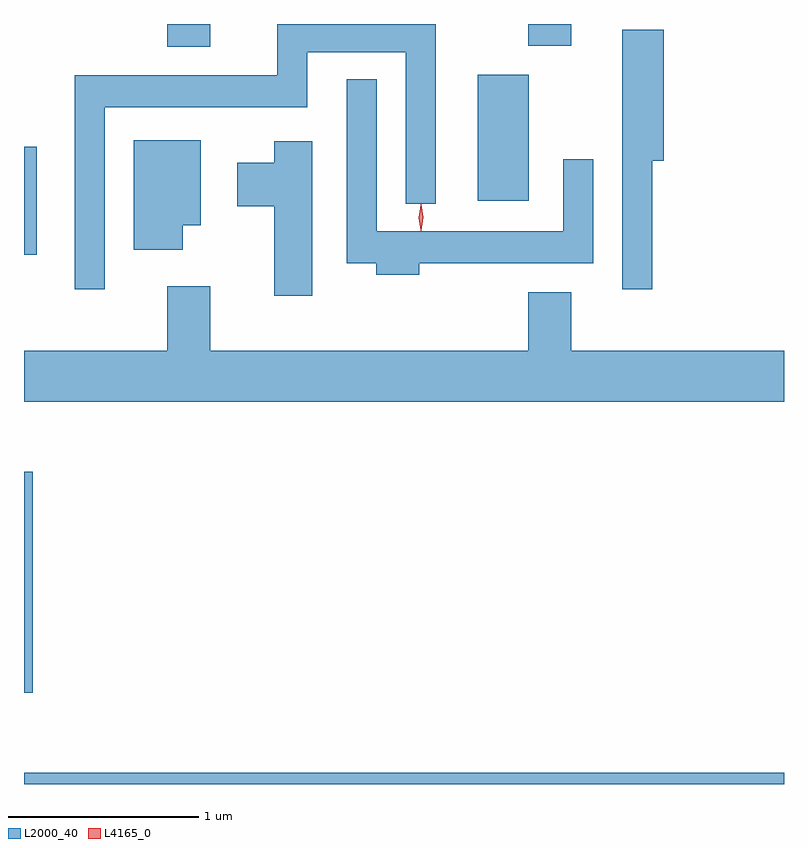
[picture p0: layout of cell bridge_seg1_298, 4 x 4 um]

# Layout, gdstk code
import gdstk
lib = gdstk.Library(unit=1e-6, precision=1e-09)
def R(c, l, rs):  # rectangles x0, y0, x1, y1
    for r in rs: c.add(gdstk.rectangle(r[:2], r[2:], *l))
def P(c, l, *ps):  # polygons
    for p in ps: c.add(gdstk.Polygon(p, *l))
L2000_40 = (2000, 40)
L4165_0 = (4165, 0)

bridge_seg1_298 = lib.new_cell('bridge_seg1_298')
R(bridge_seg1_298, L2000_40, [(845.568,870.925,849.568,870.984), (845.568,871.406,845.614,872.569), (845.568,873.711,845.634,874.279), (847.956,873.996,848.224,874.659), (846.321,874.806,846.549,874.925), (848.221,874.811,848.449,874.925)])
P(bridge_seg1_298, L2000_40, [(845.994,874.486),(847.059,874.486),(847.059,874.776),(847.576,874.776),(847.576,873.978),(847.734,873.978),(847.734,874.925),(846.901,874.925),(846.901,874.654),(845.836,874.654),(845.836,873.528),(845.994,873.528)],
  [(848.874,874.206),(848.934,874.206),(848.934,874.894),(848.716,874.894),(848.716,873.528),(848.874,873.528)],
  [(847.649,873.666),(848.564,873.666),(848.564,874.213),(848.406,874.213),(848.406,873.834),(847.424,873.834),(847.424,874.633),(847.266,874.633),(847.266,873.666),(847.421,873.666),(847.421,873.606),(847.649,873.606)],
  [(846.404,873.866),(846.499,873.866),(846.499,874.314),(846.146,874.314),(846.146,873.736),(846.404,873.736)],
  [(847.084,874.309),(846.886,874.309),(846.886,874.194),(846.691,874.194),(846.691,873.966),(846.886,873.966),(846.886,873.496),(847.084,873.496)],
  [(849.568,873.204),(848.449,873.204),(848.449,873.514),(848.221,873.514),(848.221,873.204),(846.549,873.204),(846.549,873.544),(846.321,873.544),(846.321,873.204),(845.568,873.204),(845.568,872.936),(849.568,872.936)])
P(bridge_seg1_298, L4165_0, [(847.657,873.837),(847.648,873.907),(847.657,873.976),(847.658,873.976),(847.658,873.976),(847.668,873.907),(847.658,873.837),(847.658,873.837)],
  [(847.655,873.839),(847.655,873.84),(847.645,873.906),(847.655,873.972),(847.655,873.973),(847.656,873.972),(847.666,873.906),(847.656,873.84)])

lib.write_gds('bridge_seg1_298.gds')
